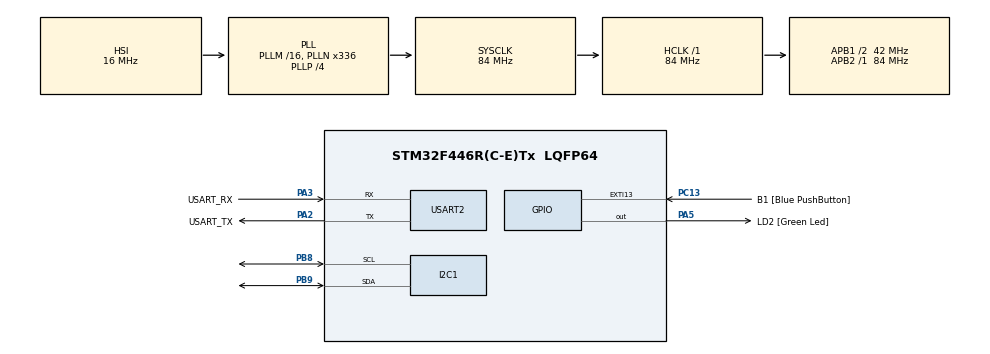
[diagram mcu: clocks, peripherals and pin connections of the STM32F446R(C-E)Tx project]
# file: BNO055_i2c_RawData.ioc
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Mcu.Family=STM32F4
Mcu.Name=STM32F446R(C-E)Tx
Mcu.Package=LQFP64
NVIC.PriorityGroup=NVIC_PRIORITYGROUP_0
PA13.GPIO_Label=TMS
PA13.Mode=Serial_Wire
PA13.Signal=SYS_JTMS-SWDIO
PA14.GPIO_Label=TCK
PA14.Mode=Serial_Wire
PA14.Signal=SYS_JTCK-SWCLK
PA2.GPIO_Label=USART_TX
PA2.Mode=Asynchronous
PA2.Signal=USART2_TX
PA3.GPIO_Label=USART_RX
PA3.Mode=Asynchronous
PA3.Signal=USART2_RX
PA5.GPIO_Label=LD2 [Green Led]
PA5.Signal=GPIO_Output
PB3.GPIO_Label=SWO
PB3.Signal=SYS_JTDO-SWO
PB8.Mode=I2C
PB8.Signal=I2C1_SCL
PB9.Mode=I2C
PB9.Signal=I2C1_SDA
PC13.GPIO_Label=B1 [Blue PushButton]
PC13.GPIO_ModeDefaultEXTI=GPIO_MODE_IT_FALLING
PC13.Signal=GPXTI13
PC14-OSC32_IN.Mode=LSE-External-Oscillator
PC14-OSC32_IN.Signal=RCC_OSC32_IN
PC15-OSC32_OUT.Mode=LSE-External-Oscillator
PC15-OSC32_OUT.Signal=RCC_OSC32_OUT
PH0-OSC_IN.Mode=HSE-External-Oscillator
PH0-OSC_IN.Signal=RCC_OSC_IN
PH1-OSC_OUT.Mode=HSE-External-Oscillator
PH1-OSC_OUT.Signal=RCC_OSC_OUT
ProjectManager.HeapSize=0x200
ProjectManager.StackSize=0x400
ProjectManager.TargetToolchain=STM32CubeIDE
RCC.48MHZClocksFreq_Value=84000000
RCC.AHBFreq_Value=84000000
RCC.APB1CLKDivider=RCC_HCLK_DIV2
RCC.APB1Freq_Value=42000000
RCC.APB1TimFreq_Value=84000000
RCC.APB2Freq_Value=84000000
RCC.APB2TimFreq_Value=84000000
RCC.CortexFreq_Value=84000000
RCC.FLatency-AdvancedSettings=FLASH_LATENCY_2
RCC.HCLKFreq_Value=84000000
RCC.HSE_VALUE=8000000
RCC.HSI_VALUE=16000000
RCC.PLLN=336
RCC.PLLP=RCC_PLLP_DIV4
RCC.SYSCLKFreq_VALUE=84000000
RCC.SYSCLKSource=RCC_SYSCLKSOURCE_PLLCLK
RCC.USBFreq_Value=168000000
RCC.VCOOutputFreq_Value=336000000
USART2.VirtualMode=VM_ASYNC
board=NUCLEO-F446RE

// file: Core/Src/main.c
/* USER CODE BEGIN Header */
/**
  ******************************************************************************
  * @file           : main.c
  * @brief          : Main program body
  ******************************************************************************
  * @attention
  *
  * Copyright (c) 2025 STMicroelectronics.
  * All rights reserved.
  *
  * This software is licensed under terms that can be found in the LICENSE file
  * in the root directory of this software component.
  * If no LICENSE file comes with this software, it is provided AS-IS.
  *
  ******************************************************************************
  */
/* USER CODE END Header */
#include "main.h"

/* USER CODE BEGIN Includes */
#include <stdio.h>     // ← NECESARIO para sprintf
#include <string.h>   // ← para strlen

#define BNO055_ADDR  (0x28 << 1)

#define BNO055_CHIP_ID     0x00
#define BNO055_OPR_MODE   0x3D
#define BNO055_PWR_MODE   0x3E
#define BNO055_SYS_TRIGGER 0x3F

#define BNO055_EULER_H_LSB 0x1A   // Heading (Yaw)
#define BNO055_EULER_R_LSB 0x1C   // Roll
#define BNO055_EULER_P_LSB 0x1E   // Pitch

#define OPERATION_MODE_NDOF 0x0C
#define POWER_MODE_NORMAL   0x00

#define OPERATION_MODE_AMG  0x07   // Acc + Mag + Gyro sin fusión (RAW)

// Registros de datos crudos
#define BNO055_ACCEL_X_LSB  0x08
#define BNO055_MAG_X_LSB    0x0E
#define BNO055_GYRO_X_LSB   0x14

/* USER CODE END Includes */

I2C_HandleTypeDef hi2c1;

UART_HandleTypeDef huart2;

void SystemClock_Config(void);
static void MX_GPIO_Init(void);
static void MX_USART2_UART_Init(void);
static void MX_I2C1_Init(void);

/* USER CODE BEGIN 0 */

void BNO055_Write(uint8_t reg, uint8_t data)
{
    HAL_I2C_Mem_Write(&hi2c1, BNO055_ADDR, reg, 1, &data, 1, HAL_MAX_DELAY);
}

void BNO055_Read(uint8_t reg, uint8_t *data, uint8_t len)
{
    HAL_I2C_Mem_Read(&hi2c1, BNO055_ADDR, reg, 1, data, len, HAL_MAX_DELAY);
}

/* USER CODE END 0 */

int main(void)
{

  /* MCU Configuration--------------------------------------------------------*/

  /* Reset of all peripherals, Initializes the Flash interface and the Systick. */
  HAL_Init();

  /* Configure the system clock */
  SystemClock_Config();

  /* Initialize all configured peripherals */
  MX_GPIO_Init();
  MX_USART2_UART_Init();
  MX_I2C1_Init();
  /* USER CODE BEGIN 2 */
  uint8_t id = 0;

  HAL_Delay(650);
  BNO055_Read(BNO055_CHIP_ID, &id, 1);

  BNO055_Write(BNO055_OPR_MODE, 0x00); // Config mode
  HAL_Delay(20);

  BNO055_Write(BNO055_PWR_MODE, POWER_MODE_NORMAL);
  HAL_Delay(10);

  BNO055_Write(BNO055_OPR_MODE, OPERATION_MODE_AMG); // RAW data (sin fusión)
  HAL_Delay(20);

  /* USER CODE END 2 */

  /* Infinite loop */
  /* USER CODE BEGIN WHILE */
  while (1)
  {
	  /* Infinite loop */
	  /* USER CODE BEGIN WHILE */
	  while (1)
	  {
		  uint8_t buf[6];
		  int16_t ax, ay, az;
		  int16_t gx, gy, gz;
		  int16_t mx, my, mz;

		  // ACCEL
		  BNO055_Read(BNO055_ACCEL_X_LSB, buf, 6);
		  ax = (int16_t)((buf[1]<<8) | buf[0]);
		  ay = (int16_t)((buf[3]<<8) | buf[2]);
		  az = (int16_t)((buf[5]<<8) | buf[4]);

		  // GYRO
		  BNO055_Read(BNO055_GYRO_X_LSB, buf, 6);
		  gx = (int16_t)((buf[1]<<8) | buf[0]);
		  gy = (int16_t)((buf[3]<<8) | buf[2]);
		  gz = (int16_t)((buf[5]<<8) | buf[4]);

		  // MAG
		  BNO055_Read(BNO055_MAG_X_LSB, buf, 6);
		  mx = (int16_t)((buf[1]<<8) | buf[0]);
		  my = (int16_t)((buf[3]<<8) | buf[2]);
		  mz = (int16_t)((buf[5]<<8) | buf[4]);

		  // Conversión a unidades físicas
		  float ax_g = ax / 100.0f;
		  float ay_g = ay / 100.0f;
		  float az_g = az / 100.0f;

		  float gx_dps = gx / 16.0f;
		  float gy_dps = gy / 16.0f;
		  float gz_dps = gz / 16.0f;

		  float mx_uT = mx / 16.0f;
		  float my_uT = my / 16.0f;
		  float mz_uT = mz / 16.0f;

		  // Envío por UART
		  char msg[200];
		  sprintf(msg,
		   "AX:%.2f AY:%.2f AZ:%.2f | GX:%.2f GY:%.2f GZ:%.2f | MX:%.2f MY:%.2f MZ:%.2f\r\n",
		   ax_g, ay_g, az_g, gx_dps, gy_dps, gz_dps, mx_uT, my_uT, mz_uT);

		  HAL_UART_Transmit(&huart2, (uint8_t*)msg, strlen(msg), HAL_MAX_DELAY);

	      HAL_Delay(100);
	  }
	  /* USER CODE END WHILE */

    /* USER CODE END WHILE */

  }
}

void SystemClock_Config(void)
{
  RCC_OscInitTypeDef RCC_OscInitStruct = {0};
  RCC_ClkInitTypeDef RCC_ClkInitStruct = {0};

  /** Configure the main internal regulator output voltage
  */
  __HAL_RCC_PWR_CLK_ENABLE();
  __HAL_PWR_VOLTAGESCALING_CONFIG(PWR_REGULATOR_VOLTAGE_SCALE3);

  /** Initializes the RCC Oscillators according to the specified parameters
  * in the RCC_OscInitTypeDef structure.
  */
  RCC_OscInitStruct.OscillatorType = RCC_OSCILLATORTYPE_HSI;
  RCC_OscInitStruct.HSIState = RCC_HSI_ON;
  RCC_OscInitStruct.HSICalibrationValue = RCC_HSICALIBRATION_DEFAULT;
  RCC_OscInitStruct.PLL.PLLState = RCC_PLL_ON;
  RCC_OscInitStruct.PLL.PLLSource = RCC_PLLSOURCE_HSI;
  RCC_OscInitStruct.PLL.PLLM = 16;
  RCC_OscInitStruct.PLL.PLLN = 336;
  RCC_OscInitStruct.PLL.PLLP = RCC_PLLP_DIV4;
  RCC_OscInitStruct.PLL.PLLQ = 2;
  RCC_OscInitStruct.PLL.PLLR = 2;
  if (HAL_RCC_OscConfig(&RCC_OscInitStruct) != HAL_OK)
  {
    Error_Handler();
  }

  /** Initializes the CPU, AHB and APB buses clocks
  */
  RCC_ClkInitStruct.ClockType = RCC_CLOCKTYPE_HCLK|RCC_CLOCKTYPE_SYSCLK
                              |RCC_CLOCKTYPE_PCLK1|RCC_CLOCKTYPE_PCLK2;
  RCC_ClkInitStruct.SYSCLKSource = RCC_SYSCLKSOURCE_PLLCLK;
  RCC_ClkInitStruct.AHBCLKDivider = RCC_SYSCLK_DIV1;
  RCC_ClkInitStruct.APB1CLKDivider = RCC_HCLK_DIV2;
  RCC_ClkInitStruct.APB2CLKDivider = RCC_HCLK_DIV1;

  if (HAL_RCC_ClockConfig(&RCC_ClkInitStruct, FLASH_LATENCY_2) != HAL_OK)
  {
    Error_Handler();
  }
}

static void MX_I2C1_Init(void)
{

  hi2c1.Instance = I2C1;
  hi2c1.Init.ClockSpeed = 100000;
  hi2c1.Init.DutyCycle = I2C_DUTYCYCLE_2;
  hi2c1.Init.OwnAddress1 = 0;
  hi2c1.Init.AddressingMode = I2C_ADDRESSINGMODE_7BIT;
  hi2c1.Init.DualAddressMode = I2C_DUALADDRESS_DISABLE;
  hi2c1.Init.OwnAddress2 = 0;
  hi2c1.Init.GeneralCallMode = I2C_GENERALCALL_DISABLE;
  hi2c1.Init.NoStretchMode = I2C_NOSTRETCH_DISABLE;
  if (HAL_I2C_Init(&hi2c1) != HAL_OK)
  {
    Error_Handler();
  }

}

static void MX_USART2_UART_Init(void)
{

  huart2.Instance = USART2;
  huart2.Init.BaudRate = 115200;
  huart2.Init.WordLength = UART_WORDLENGTH_8B;
  huart2.Init.StopBits = UART_STOPBITS_1;
  huart2.Init.Parity = UART_PARITY_NONE;
  huart2.Init.Mode = UART_MODE_TX_RX;
  huart2.Init.HwFlowCtl = UART_HWCONTROL_NONE;
  huart2.Init.OverSampling = UART_OVERSAMPLING_16;
  if (HAL_UART_Init(&huart2) != HAL_OK)
  {
    Error_Handler();
  }

}

static void MX_GPIO_Init(void)
{
  GPIO_InitTypeDef GPIO_InitStruct = {0};

  /* GPIO Ports Clock Enable */
  __HAL_RCC_GPIOC_CLK_ENABLE();
  __HAL_RCC_GPIOH_CLK_ENABLE();
  __HAL_RCC_GPIOA_CLK_ENABLE();
  __HAL_RCC_GPIOB_CLK_ENABLE();

  /*Configure GPIO pin Output Level */
  HAL_GPIO_WritePin(LD2_GPIO_Port, LD2_Pin, GPIO_PIN_RESET);

  /*Configure GPIO pin : B1_Pin */
  GPIO_InitStruct.Pin = B1_Pin;
  GPIO_InitStruct.Mode = GPIO_MODE_IT_FALLING;
  GPIO_InitStruct.Pull = GPIO_NOPULL;
  HAL_GPIO_Init(B1_GPIO_Port, &GPIO_InitStruct);

  /*Configure GPIO pin : LD2_Pin */
  GPIO_InitStruct.Pin = LD2_Pin;
  GPIO_InitStruct.Mode = GPIO_MODE_OUTPUT_PP;
  GPIO_InitStruct.Pull = GPIO_NOPULL;
  GPIO_InitStruct.Speed = GPIO_SPEED_FREQ_LOW;
  HAL_GPIO_Init(LD2_GPIO_Port, &GPIO_InitStruct);

}

void Error_Handler(void)
{
  __disable_irq();
  while (1)
  {
  }
}
